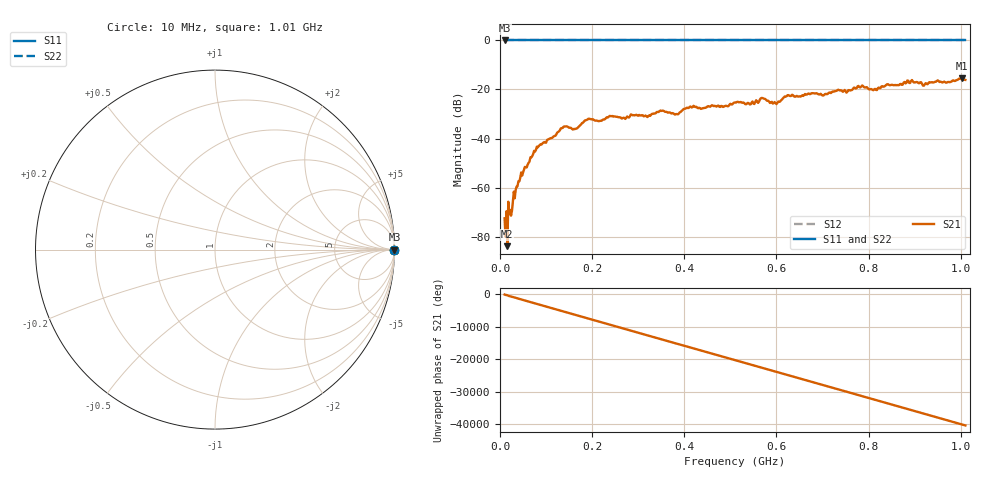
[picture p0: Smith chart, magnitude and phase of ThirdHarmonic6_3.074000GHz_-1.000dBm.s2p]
! 8/17/2025 8:59:44 AM
! C:\ANRITSUVNA\TEMP\TEMP.S2P
! CHANNEL.1
! TR.MEASUREMENT
! RAW.DATA
! RF.CORRECTION.OFF
! AVERAGING.OFF
! IF.BANDWIDTH: 5KHZ
! SWEEPTYPE:  FREQ.SWEEP(Linear)
! Reference Plane Port Info
! PORT:  PORT1  PORT2
! DISTANCE:  0  m  0  m
! TIME:  0  s  0  s
! PHASE.OFFSET:  0  deg.  0  deg.
! LOSS:  0  dB  0  dB
! REF.LOSS:  0  dB  0  dB
! REF.FREQ:  0  Hz  0  Hz
! Power Info
! POWER:  -20  dBm  -20  dBm
! EFF.POWER:  -20  dBm  -20  dBm
! SOURCE.ATTEN:  0  dB  0  dB
! TEST.ATTEN:  0  dB  0  dB
# GHZ S RI R 50.0
! FREQ.GHZ  S11RE  S11IM  S21RE  S21IM  S12RE  S12IM  S22RE  S22IM
!; PortSelection: Port_12
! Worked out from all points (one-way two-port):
!   501 points, 10 MHz to 1.01 GHz, reference 50 ohm
!   highest |S21| = -15.50 dB at 1.002 GHz (marker M1); lowest = -83.9 dB at 16 MHz (marker M2)
!   lowest |S11| = 0.0 dB at 10 MHz (marker M3)
!   |S11| at or under -10 dB: nowhere
!   |S22| runs from 0.0 to 0.0 dB; largest |S21 - S12| = 1.2
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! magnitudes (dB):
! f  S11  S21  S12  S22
! 10 MHz  0.0  -72.5  0.0  0.0
! 12 MHz  0.0  -80.1  0.0  0.0
! 16 MHz  0.0  -83.9  0.0  0.0
! 42 MHz  0.0  -57.4  0.0  0.0
! 78 MHz  0.0  -44.7  0.0  0.0
! 136 MHz  0.0  -35.7  0.0  0.0
! 162 MHz  0.0  -36.2  0.0  0.0
! 178 MHz  0.0  -33.7  0.0  0.0
! 344 MHz  0.0  -29.2  0.0  0.0
! 384 MHz  0.0  -30.0  0.0  0.0
! 416 MHz  0.0  -27.3  0.0  0.0
! 510 MHz  0.0  -25.3  0.0  0.0
! 548 MHz  0.0  -24.9  0.0  0.0
! 570 MHz  0.0  -23.5  0.0  0.0
! 598 MHz  0.0  -25.6  0.0  0.0
! 622 MHz  0.0  -22.7  0.0  0.0
! 678 MHz  0.0  -21.5  0.0  0.0
! 782 MHz  0.0  -19.2  0.0  0.0
! 814 MHz  0.0  -19.8  0.0  0.0
! 844 MHz  0.0  -18.1  0.0  0.0
! 1.002 GHz  0.0  -15.5  0.0  0.0
! 1.01 GHz  0.0  -16.1  0.0  0.0
